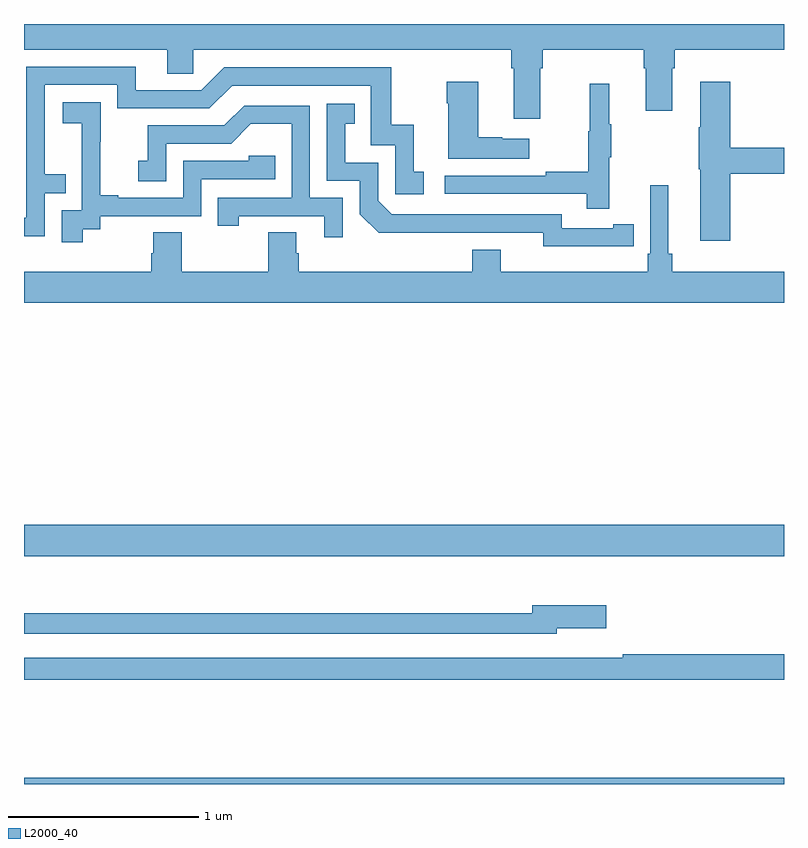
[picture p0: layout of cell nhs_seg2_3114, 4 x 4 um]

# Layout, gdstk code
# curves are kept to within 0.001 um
import gdstk
lib = gdstk.Library(unit=1e-6, precision=1e-09)
def R(c, l, rs):  # rectangles x0, y0, x1, y1
    for r in rs: c.add(gdstk.rectangle(r[:2], r[2:], *l))
def P(c, l, *ps):  # polygons
    for p in ps: c.add(gdstk.Polygon(p, *l))
L2000_40 = (2000, 40)

nhs_seg2_3114 = lib.new_cell('nhs_seg2_3114')
R(nhs_seg2_3114, L2000_40, [(275,615.8,279,615.832), (275,617,279,617.164)])
P(nhs_seg2_3114, L2000_40, [(277.717,619.568),(277.73,619.568),(277.73,619.664),(278.261,619.664),(278.261,619.568),(278.273,619.568),(278.273,619.344),(278.413,619.344),(278.413,619.568),(278.426,619.568),(278.426,619.664),(279,619.664),(279,619.8),(275,619.8),(275,619.664),(275.753,619.664),(275.753,619.537),(275.892,619.537),(275.892,619.664),(277.565,619.664),(277.565,619.568),(277.577,619.568),(277.577,619.302),(277.717,619.302)],
  [(275.109,618.909),(275.219,618.909),(275.219,619.01),(275.109,619.01),(275.109,619.479),(275.49,619.479),(275.49,619.356),(275.976,619.356),(276.096,619.476),(276.825,619.476),(276.825,619.161),(276.954,619.161),(276.954,618.903),(277.105,618.903),(277.105,619.023),(277.052,619.023),(277.052,619.27),(276.934,619.27),(276.934,619.572),(276.054,619.572),(275.934,619.452),(275.587,619.452),(275.587,619.575),(275.013,619.575),(275.013,618.78),(275,618.78),(275,618.684),(275.109,618.684)],
  [(277.66,619.195),(277.517,619.195),(277.517,619.205),(277.39,619.205),(277.39,619.495),(277.225,619.495),(277.225,619.382),(277.232,619.382),(277.232,619.091),(277.66,619.091)],
  [(278.717,619.012),(279,619.012),(279,619.148),(278.717,619.148),(278.717,619.495),(278.558,619.495),(278.558,619.256),(278.551,619.256),(278.551,619.035),(278.558,619.035),(278.558,618.66),(278.717,618.66)],
  [(278.081,619.099),(278.092,619.099),(278.092,619.273),(278.081,619.273),(278.081,619.486),(277.978,619.486),(277.978,619.236),(277.971,619.236),(277.971,619.022),(277.747,619.022),(277.747,619.002),(277.215,619.002),(277.215,618.906),(277.963,618.906),(277.963,618.828),(278.081,618.828)],
  [(275.308,618.721),(275.4,618.721),(275.4,618.789),(275.934,618.789),(275.934,618.984),(276.323,618.984),(276.323,619.107),(276.183,619.107),(276.183,619.08),(275.838,619.08),(275.838,618.885),(275.497,618.885),(275.497,618.898),(275.402,618.898),(275.402,619.181),(275.403,619.181),(275.403,619.387),(275.205,619.387),(275.205,619.277),(275.303,619.277),(275.303,619.049),(275.304,619.049),(275.304,618.819),(275.199,618.819),(275.199,618.651),(275.308,618.651)],
  [(278.102,618.63),(278.21,618.63),(278.21,618.746),(278.102,618.746),(278.102,618.726),(277.83,618.726),(277.83,618.798),(276.936,618.798),(276.864,618.87),(276.864,619.071),(276.691,619.071),(276.691,619.275),(276.74,619.275),(276.74,619.381),(276.594,619.381),(276.594,618.975),(276.768,618.975),(276.768,618.798),(276.866,618.701),(277.734,618.702),(277.734,618.629)],
  [(276.678,618.885),(276.504,618.885),(276.504,619.371),(276.158,619.371),(276.053,619.266),(275.65,619.266),(275.65,619.081),(275.601,619.081),(275.601,618.972),(275.748,618.972),(275.748,619.17),(276.09,619.17),(276.194,619.274),(276.408,619.274),(276.408,618.885),(276.019,618.885),(276.019,618.738),(276.13,618.738),(276.13,618.789),(276.581,618.789),(276.581,618.678),(276.678,618.678)],
  [(278.392,618.592),(278.392,618.952),(278.295,618.952),(278.295,618.592),(278.282,618.592),(278.282,618.496),(277.51,618.496),(277.51,618.613),(277.358,618.613),(277.358,618.496),(276.446,618.496),(276.446,618.594),(276.433,618.594),(276.433,618.704),(276.286,618.704),(276.286,618.496),(275.829,618.496),(275.829,618.704),(275.681,618.704),(275.681,618.594),(275.669,618.594),(275.669,618.496),(275,618.496),(275,618.332),(279,618.332),(279,618.496),(278.411,618.496),(278.411,618.592)],
  [(277.804,616.619),(278.065,616.619),(278.065,616.741),(277.676,616.741),(277.676,616.699),(275,616.699),(275,616.59),(277.804,616.59)],
  [(279,616.484),(278.152,616.484),(278.152,616.465),(277.9,616.465),(277.9,616.464),(275,616.464),(275,616.348),(279,616.348)])

lib.write_gds('nhs_seg2_3114.gds')
